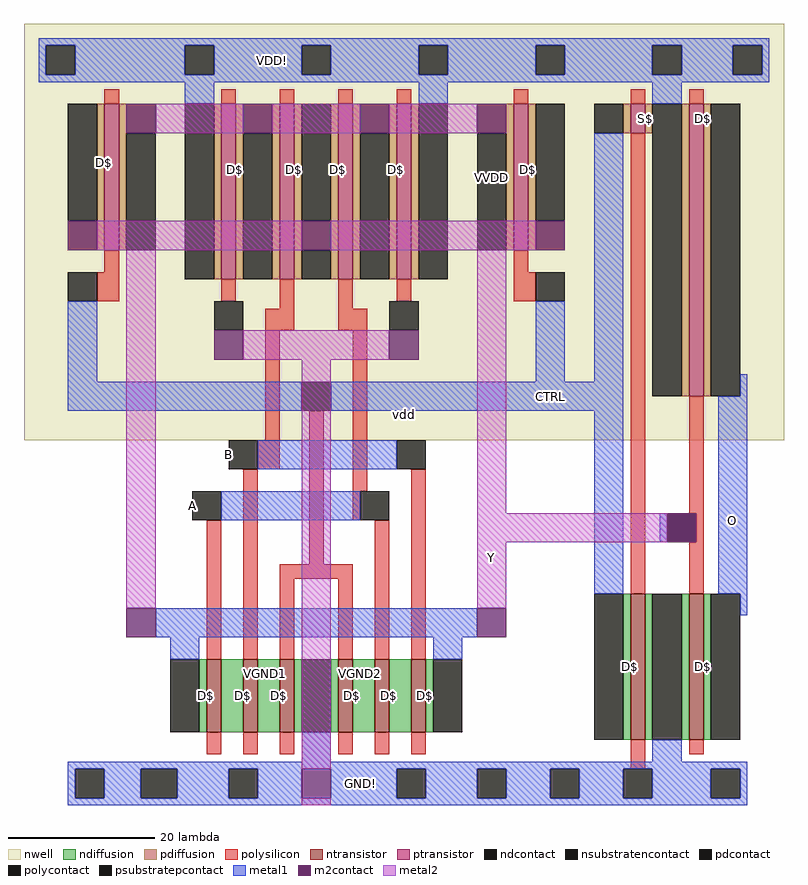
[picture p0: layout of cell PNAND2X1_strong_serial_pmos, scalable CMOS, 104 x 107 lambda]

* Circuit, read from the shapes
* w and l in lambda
.subckt PNAND2X1_strong_serial_pmos A B CTRL GND! O VDD! VGND1 VGND2 VVDD Y
M1 n1 A Y GND! nfet w=10 l=2
M2 VGND1 B n1 GND! nfet w=10 l=2
M3 GND! CTRL VGND1 GND! nfet w=10 l=2
M4 VGND2 CTRL GND! GND! nfet w=10 l=2
M5 n2 A VGND2 GND! nfet w=10 l=2
M6 Y B n2 GND! nfet w=10 l=2
M7 GND! GND! CTRL GND! nfet w=20 l=2
M8 O Y GND! GND! nfet w=20 l=2
M9 VVDD CTRL Y VDD! pfet w=20 l=2 m=2
M10 VVDD GND! VDD! VDD! pfet w=24 l=2 m=2
M11 Y B VVDD VDD! pfet w=24 l=2
M12 VVDD A Y VDD! pfet w=24 l=2
M13 VDD! GND! CTRL VDD! pfet w=4 l=2
M14 O Y VDD! VDD! pfet w=40 l=2
.ends

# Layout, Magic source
magic
tech scmos
<< nwell >>
rect -65 165 39 222
<< ntransistor >>
rect -40 125 -38 135
rect -35 125 -33 135
rect -30 125 -28 135
rect -22 125 -20 135
rect -17 125 -15 135
rect -12 125 -10 135
rect 18 124 20 144
rect 26 124 28 144
<< ptransistor >>
rect -54 191 -52 211
rect -38 187 -36 211
rect -30 187 -28 211
rect -22 187 -20 211
rect -14 187 -12 211
rect 2 191 4 211
rect 18 207 20 211
rect 26 171 28 211
<< ndiffusion >>
rect -41 125 -40 135
rect -38 125 -35 135
rect -33 125 -30 135
rect -28 125 -27 135
rect -23 125 -22 135
rect -20 125 -17 135
rect -15 125 -12 135
rect -10 125 -9 135
rect 17 124 18 144
rect 20 124 21 144
rect 25 124 26 144
rect 28 124 29 144
<< pdiffusion >>
rect -55 195 -54 211
rect -59 191 -54 195
rect -52 207 -47 211
rect -52 191 -51 207
rect -39 187 -38 211
rect -36 207 -30 211
rect -36 187 -35 207
rect -31 187 -30 207
rect -28 195 -27 211
rect -23 195 -22 211
rect -28 191 -22 195
rect -28 187 -27 191
rect -23 187 -22 191
rect -20 207 -14 211
rect -20 187 -19 207
rect -15 187 -14 207
rect -12 187 -11 211
rect -3 207 2 211
rect 1 191 2 207
rect 4 195 5 211
rect 17 207 18 211
rect 20 207 21 211
rect 4 191 9 195
rect 25 171 26 211
rect 28 171 29 211
<< ndcontact >>
rect -45 125 -41 135
rect -27 125 -23 135
rect -9 125 -5 135
rect 13 124 17 144
rect 21 124 25 144
rect 29 124 33 144
<< pdcontact >>
rect -59 195 -55 211
rect -51 191 -47 207
rect -43 187 -39 211
rect -35 187 -31 207
rect -27 195 -23 211
rect -27 187 -23 191
rect -19 187 -15 207
rect -11 187 -7 211
rect -3 191 1 207
rect 5 195 9 211
rect 13 207 17 211
rect 21 171 25 211
rect 29 171 33 211
<< psubstratepcontact >>
rect -58 116 -54 120
rect -49 116 -44 120
rect -37 116 -33 120
rect -14 116 -10 120
rect -3 116 1 120
rect 7 116 11 120
rect 29 116 33 120
<< nsubstratencontact >>
rect -62 215 -58 219
rect -43 215 -39 219
rect -27 215 -23 219
rect -11 215 -7 219
rect 5 215 9 219
rect 21 215 25 219
rect 32 215 36 219
<< polysilicon >>
rect -54 211 -52 213
rect -38 211 -36 213
rect -30 211 -28 213
rect -22 211 -20 213
rect -14 211 -12 213
rect 2 211 4 213
rect 18 211 20 213
rect 26 211 28 213
rect -54 188 -52 191
rect -55 184 -52 188
rect 2 188 4 191
rect -38 184 -36 187
rect -30 183 -28 187
rect -32 180 -28 183
rect -22 183 -20 187
rect -14 184 -12 187
rect 2 184 5 188
rect -22 180 -18 183
rect -32 165 -30 180
rect -33 161 -30 165
rect -40 135 -38 154
rect -35 135 -33 161
rect -26 148 -24 169
rect -20 158 -18 180
rect -20 154 -19 158
rect -30 146 -20 148
rect -30 135 -28 146
rect -22 135 -20 146
rect -17 135 -15 154
rect -12 135 -10 161
rect 18 144 20 207
rect 26 155 28 171
rect 27 151 28 155
rect 26 144 28 151
rect -40 122 -38 125
rect -35 122 -33 125
rect -30 122 -28 125
rect -22 122 -20 125
rect -17 122 -15 125
rect -12 122 -10 125
rect 18 120 20 124
rect 26 122 28 124
<< polycontact >>
rect -59 184 -55 188
rect -39 180 -35 184
rect 5 184 9 188
rect -15 180 -11 184
rect -27 169 -23 173
rect -37 161 -33 165
rect -42 154 -38 158
rect -14 161 -10 165
rect -19 154 -15 158
rect 23 151 27 155
rect 17 116 21 120
<< metal1 >>
rect -63 219 37 220
rect -63 215 -62 219
rect -58 215 -43 219
rect -39 215 -27 219
rect -23 215 -11 219
rect -7 215 5 219
rect 9 215 21 219
rect 25 215 32 219
rect 36 215 37 219
rect -63 214 37 215
rect -43 211 -39 214
rect -11 211 -7 214
rect 21 211 25 214
rect -59 173 -55 184
rect 5 173 9 184
rect 13 173 17 207
rect -59 169 -27 173
rect -23 169 17 173
rect 33 171 34 174
rect -33 161 -14 165
rect -38 154 -19 158
rect 13 144 17 169
rect 22 151 23 155
rect 30 144 34 171
rect -47 138 -3 142
rect -45 135 -41 138
rect -9 135 -5 138
rect -27 121 -23 125
rect 33 141 34 144
rect 21 121 25 124
rect -59 120 34 121
rect -59 116 -58 120
rect -54 116 -49 120
rect -44 116 -37 120
rect -33 116 -27 120
rect -23 116 -14 120
rect -10 116 -3 120
rect 1 116 7 120
rect 11 116 17 120
rect 21 116 29 120
rect 33 116 34 120
rect -59 115 34 116
<< m2contact >>
rect -59 191 -55 195
rect -51 207 -47 211
rect -35 207 -31 211
rect -27 191 -23 195
rect -19 207 -15 211
rect -3 207 1 211
rect 5 191 9 195
rect -39 176 -35 180
rect -15 176 -11 180
rect 23 151 27 155
rect -51 138 -47 142
rect -3 138 1 142
rect -27 116 -23 120
<< metal2 >>
rect -47 207 -35 211
rect -31 207 -19 211
rect -15 207 -3 211
rect -55 191 -27 195
rect -23 191 5 195
rect -51 142 -47 191
rect -35 176 -15 180
rect -27 120 -23 176
rect -3 155 1 191
rect -3 151 23 155
rect -3 142 1 151
rect -27 115 -23 116
<< labels >>
rlabel metal1 7 171 7 171 1 CTRL
rlabel metal1 -19 118 -19 118 1 GND!
rlabel metal1 -31 217 -31 217 1 VDD!
rlabel metal2 -1 149 -1 149 1 Y
rlabel pdcontact -1 201 -1 201 1 VVDD
rlabel metal1 32 154 32 154 1 O
rlabel ndiffusion -32 133 -32 133 1 VGND1
rlabel ndiffusion -19 133 -19 133 1 VGND2
rlabel ntransistor 18 134 18 134 1 D$
rlabel ntransistor 20 134 20 134 1 S$
rlabel ptransistor 20 209 20 209 1 S$
rlabel ptransistor 18 209 18 209 1 D$
rlabel polycontact -42 154 -42 158 1 A
rlabel polycontact -37 161 -37 165 1 B
rlabel ntransistor -20 130 -20 130 1 D$
rlabel ntransistor -15 130 -15 130 1 D$
rlabel ntransistor -10 130 -10 130 1 D$
rlabel ntransistor -30 130 -30 130 1 D$
rlabel ntransistor -35 130 -35 130 1 D$
rlabel ntransistor -40 130 -40 130 1 D$
rlabel ntransistor -12 130 -12 130 1 S$
rlabel ntransistor -17 130 -17 130 1 S$
rlabel ntransistor -22 130 -22 130 1 S$
rlabel ntransistor -28 130 -28 130 1 S$
rlabel ntransistor -33 130 -33 130 1 S$
rlabel ntransistor -38 130 -38 130 1 S$
rlabel ntransistor 28 134 28 134 1 D$
rlabel ntransistor 26 134 26 134 1 S$
rlabel ptransistor 28 209 28 209 1 D$
rlabel ptransistor 26 209 26 209 1 S$
rlabel ptransistor 4 202 4 202 1 D$
rlabel ptransistor -14 202 -14 202 1 D$
rlabel ptransistor -36 202 -36 202 1 D$
rlabel ptransistor -22 202 -22 202 1 D$
rlabel ptransistor -28 202 -28 202 1 D$
rlabel ptransistor -54 203 -54 203 1 D$
rlabel ptransistor 2 202 2 202 1 S$
rlabel ptransistor -12 202 -12 202 1 S$
rlabel ptransistor -20 202 -20 202 1 S$
rlabel ptransistor -30 202 -30 202 1 S$
rlabel ptransistor -38 202 -38 202 1 S$
rlabel ptransistor -52 203 -52 203 1 S$
rlabel space -65 115 39 222 1 vdd
rlabel space -65 115 39 222 1 gnd
<< end >>
